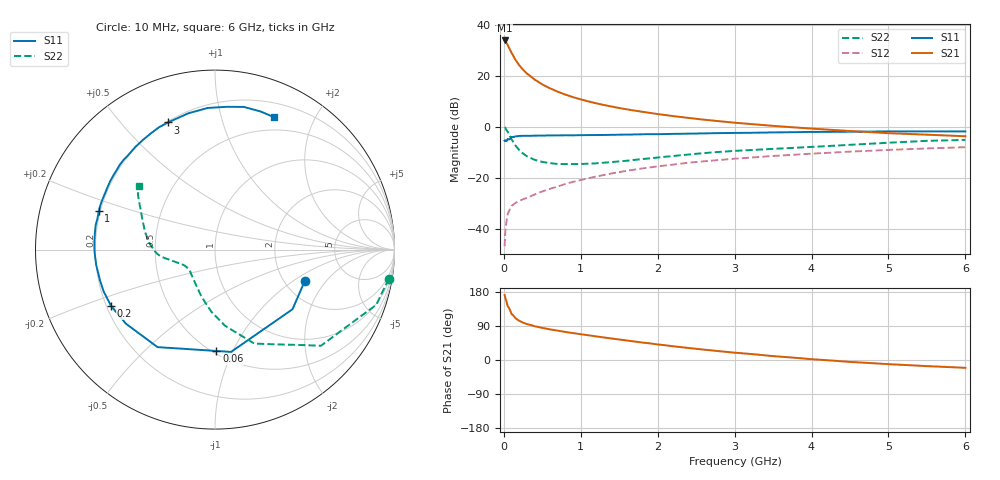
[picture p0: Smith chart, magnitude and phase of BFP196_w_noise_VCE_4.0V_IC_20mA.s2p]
! Infineon Technologies  Discrete & RF Semiconductors
! BFP196
! VCE =  4.0 V,  IC =  20 mA
! Common Emitter S-Parameters:  Jan 2017
# GHz  S  MA  R  50
!  f  S11  S21  S12  S22
! GHz  MAG  ANG  MAG  ANG  MAG  ANG  MAG  ANG
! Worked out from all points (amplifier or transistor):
!   77 points, 10 MHz to 6 GHz, reference 50 ohm
!   highest |S21| = 33.9 dB at 10 MHz (marker M1)
!   |S21| within 3 dB of that: start of sweep to 70.07 MHz
!   unconditionally stable (mu >= 1): 799.7 MHz to 2.397 GHz
!   at 130 MHz: K = 0.38, MSG = 29.0 dB, |S12| = -30.4 dB
!   at 2.2 GHz: K = 1.02, MAG = 8.8 dB, |S12| = -14.9 dB
!   at 6 GHz: K = 0.93, MSG = 2.1 dB, |S12| = -8.0 dB
!   lowest NFmin = 1.10 dB at 450 MHz
!   S11 on the Smith chart (normalised r, x): 10 MHz: 2.56, -1.25; 60 MHz: 0.52, -0.87; 200 MHz: 0.22, -0.24; 1 GHz: 0.19, +0.15; 3 GHz: 0.20, +0.68; 6 GHz: 0.35, +1.48
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0.01  0.53 -19.3  49.55 171.3  0.0045 86.1  0.9817 -9.5
0.02  0.5449 -37.6  48.62 163.2  0.009 78.7  0.9498 -18.9
0.05  0.577 -81.1  40.47 142.3  0.019 59.7  0.7973 -42.2
0.06  0.5648 -89.2  37.72 139.3  0.0207 56.7  0.7422 -45.9
0.1  0.6307 -120.5  28.29 121.6  0.0278 48.4  0.5676 -67.3
0.15  0.6454 -140.2  20.71 110.6  0.0317 44.4  0.4285 -82.4
0.2  0.6584 -151.5  16.15 103.5  0.0349 43.8  0.3484 -93.1
0.25  0.6627 -159.3  13.16 98.4  0.0376 44.1  0.2974 -100.9
0.3  0.6633 -164.9  11.09 94.9  0.0399 47.0  0.263 -107.9
0.4  0.6676 -172.8  8.439 89.1  0.0466 50.3  0.2239 -118.1
0.5  0.6713 -178.9  6.78 84.7  0.0534 52.8  0.2036 -126.1
0.6  0.6734 176.3  5.687 80.8  0.0602 54.2  0.1926 -132.6
0.7  0.6754 172.3  4.882 77.5  0.067 56.0  0.1855 -137.5
1  0.6821 161.8  3.448 68.0  0.0896 57.8  0.1851 -148.0
1.1  0.6851 158.5  3.144 65.2  0.0975 57.5  0.1879 -150.1
1.5  0.6976 146.7  2.33 54.1  0.1284 55.8  0.2085 -158.2
2.1  0.7183 130.4  1.695 38.8  0.1734 50.1  0.2569 -166.9
3  0.7554 110.3  1.2 19.3  0.2351 40.0  0.3351 -178.3
3.1  0.7575 108.4  1.166 17.7  0.2411 38.8  0.3411 -179.9
4.1  0.7908 91.4  0.899 0.8  0.3009 27.4  0.4086 164.0
5.1  0.81 77.3  0.737 -12.0  0.355 15.9  0.4932 148.6
6  0.808 66.2  0.65 -20.7  0.3963 5.8  0.5512 139.9
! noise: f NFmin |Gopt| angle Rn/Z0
0.45  1.1  0.34  159  0.05
0.9  1.3  0.47  179  0.06
1.9  2.2  0.68  -137  0.24
2.4  2.65  0.72  -122  0.59
